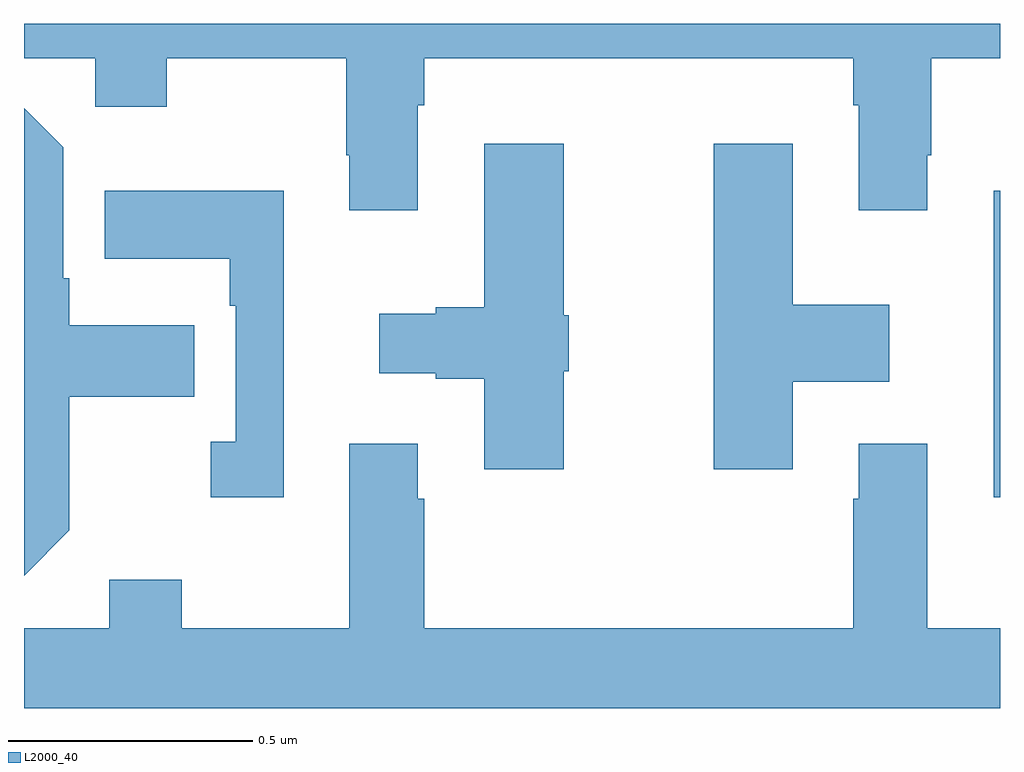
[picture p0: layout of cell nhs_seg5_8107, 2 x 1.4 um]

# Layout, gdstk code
import gdstk
lib = gdstk.Library(unit=1e-6, precision=1e-09)
def R(c, l, rs):  # rectangles x0, y0, x1, y1
    for r in rs: c.add(gdstk.rectangle(r[:2], r[2:], *l))
def P(c, l, *ps):  # polygons
    for p in ps: c.add(gdstk.Polygon(p, *l))
L2000_40 = (2000, 40)

nhs_seg5_8107 = lib.new_cell('nhs_seg5_8107')
R(nhs_seg5_8107, L2000_40, [(218.987,887.829,219,888.457)])
P(nhs_seg5_8107, L2000_40, [(217,888.728),(217.146,888.728),(217.146,888.629),(217.293,888.629),(217.293,888.728),(217.66,888.728),(217.66,888.529),(217.667,888.529),(217.667,888.417),(217.807,888.417),(217.807,888.632),(217.82,888.632),(217.82,888.728),(218.699,888.728),(218.699,888.632),(218.711,888.632),(218.711,888.417),(218.851,888.417),(218.851,888.529),(218.859,888.529),(218.859,888.728),(219,888.728),(219,888.799),(217,888.799)],
  [(217.093,887.761),(217.093,888.034),(217.349,888.034),(217.349,888.181),(217.093,888.181),(217.093,888.277),(217.08,888.277),(217.08,888.546),(217,888.626),(217,887.668)],
  [(218.575,888.065),(218.773,888.065),(218.773,888.223),(218.575,888.223),(218.575,888.553),(218.413,888.553),(218.413,887.886),(218.575,887.886)],
  [(218.106,888.087),(218.116,888.087),(218.116,888.201),(218.106,888.201),(218.106,888.553),(217.943,888.553),(217.943,888.218),(217.844,888.218),(217.844,888.205),(217.728,888.205),(217.728,888.083),(217.844,888.083),(217.844,888.071),(217.943,888.071),(217.943,887.886),(218.106,887.886)],
  [(217.532,888.457),(217.165,888.457),(217.165,888.317),(217.422,888.317),(217.422,888.221),(217.434,888.221),(217.434,887.942),(217.383,887.942),(217.383,887.829),(217.532,887.829)],
  [(219,887.56),(218.851,887.56),(218.851,887.938),(218.711,887.938),(218.711,887.825),(218.699,887.825),(218.699,887.56),(217.82,887.56),(217.82,887.825),(217.807,887.825),(217.807,887.938),(217.667,887.938),(217.667,887.56),(217.323,887.56),(217.323,887.659),(217.175,887.659),(217.175,887.56),(217,887.56),(217,887.396),(219,887.396)])

lib.write_gds('nhs_seg5_8107.gds')
